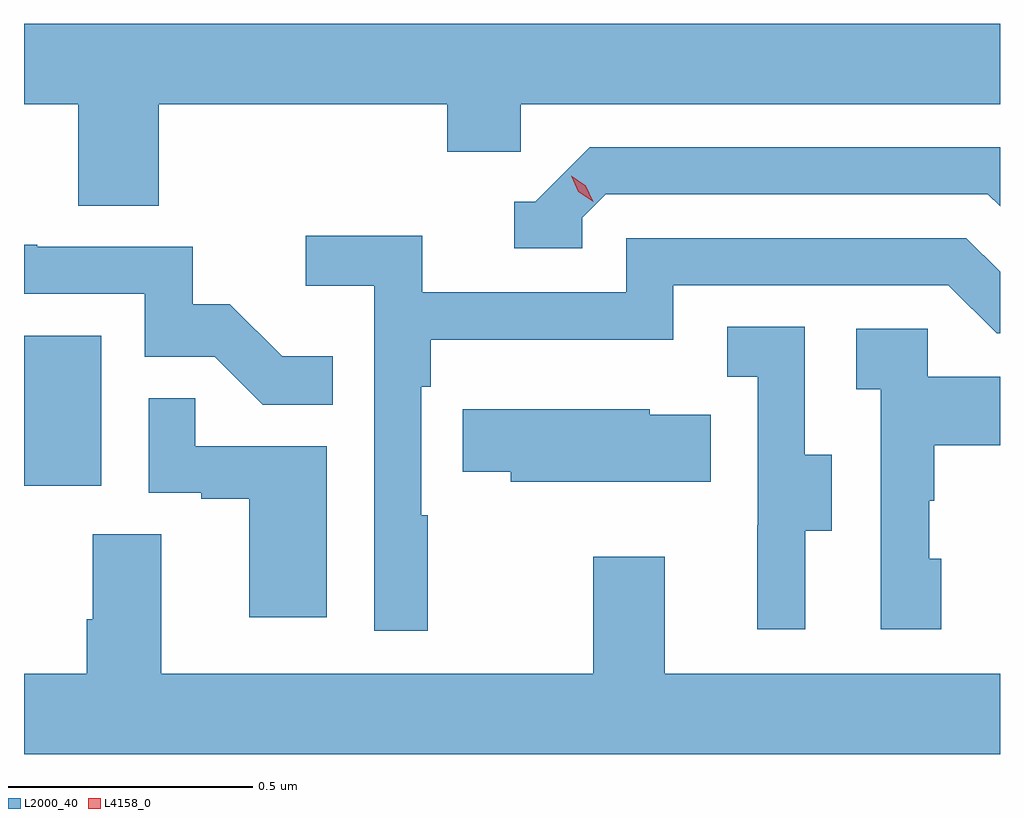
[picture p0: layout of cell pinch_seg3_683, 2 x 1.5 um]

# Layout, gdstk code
import gdstk
lib = gdstk.Library(unit=1e-6, precision=1e-09)
def R(c, l, rs):  # rectangles x0, y0, x1, y1
    for r in rs: c.add(gdstk.rectangle(r[:2], r[2:], *l))
def P(c, l, *ps):  # polygons
    for p in ps: c.add(gdstk.Polygon(p, *l))
L2000_40 = (2000, 40)
L4158_0 = (4158, 0)

pinch_seg3_683 = lib.new_cell('pinch_seg3_683')
R(pinch_seg3_683, L2000_40, [(1077.968,670.83,1078.126,671.137)])
P(pinch_seg3_683, L2000_40, [(1078.244,671.612),(1078.835,671.612),(1078.835,671.514),(1078.986,671.514),(1078.986,671.612),(1079.968,671.612),(1079.968,671.776),(1077.968,671.776),(1077.968,671.612),(1078.079,671.612),(1078.079,671.404),(1078.244,671.404)],
  [(1079.112,671.379),(1079.16,671.427),(1079.943,671.427),(1079.968,671.402),(1079.968,671.523),(1079.127,671.523),(1079.016,671.412),(1078.973,671.412),(1078.973,671.316),(1079.112,671.316)],
  [(1078.795,670.769),(1078.782,670.769),(1078.782,671.033),(1078.801,671.033),(1078.801,671.129),(1079.298,671.129),(1079.298,671.241),(1079.862,671.241),(1079.961,671.142),(1079.968,671.142),(1079.968,671.268),(1079.899,671.337),(1079.202,671.337),(1079.202,671.226),(1078.784,671.226),(1078.784,671.342),(1078.545,671.342),(1078.545,671.24),(1078.686,671.24),(1078.686,670.533),(1078.795,670.533)],
  [(1078.601,671.095),(1078.497,671.095),(1078.39,671.202),(1078.314,671.202),(1078.314,671.319),(1077.995,671.319),(1077.995,671.324),(1077.968,671.324),(1077.968,671.223),(1078.215,671.223),(1078.215,671.094),(1078.359,671.094),(1078.457,670.996),(1078.601,670.996)],
  [(1079.569,670.738),(1079.623,670.738),(1079.623,670.893),(1079.568,670.893),(1079.568,671.156),(1079.409,671.156),(1079.409,671.053),(1079.472,671.053),(1079.472,670.749),(1079.471,670.749),(1079.471,670.536),(1079.569,670.536)],
  [(1079.848,670.68),(1079.823,670.68),(1079.823,670.799),(1079.833,670.799),(1079.833,670.913),(1079.968,670.913),(1079.968,671.053),(1079.82,671.053),(1079.82,671.151),(1079.673,671.151),(1079.673,671.027),(1079.724,671.027),(1079.724,670.536),(1079.848,670.536)],
  [(1078.588,670.911),(1078.319,670.911),(1078.319,671.009),(1078.224,671.009),(1078.224,670.815),(1078.331,670.815),(1078.331,670.803),(1078.43,670.803),(1078.43,670.56),(1078.588,670.56)],
  [(1079.375,670.975),(1079.25,670.975),(1079.25,670.987),(1078.867,670.987),(1078.867,670.858),(1078.965,670.858),(1078.965,670.838),(1079.375,670.838)],
  [(1079.968,670.444),(1079.281,670.444),(1079.281,670.684),(1079.134,670.684),(1079.134,670.444),(1078.249,670.444),(1078.249,670.73),(1078.109,670.73),(1078.109,670.556),(1078.097,670.556),(1078.097,670.444),(1077.968,670.444),(1077.968,670.28),(1079.968,670.28)])
P(pinch_seg3_683, L4158_0, [(1079.134,671.412),(1079.104,671.432),(1079.089,671.465),(1079.089,671.465),(1079.089,671.465),(1079.119,671.445),(1079.135,671.412),(1079.135,671.412)])

lib.write_gds('pinch_seg3_683.gds')
